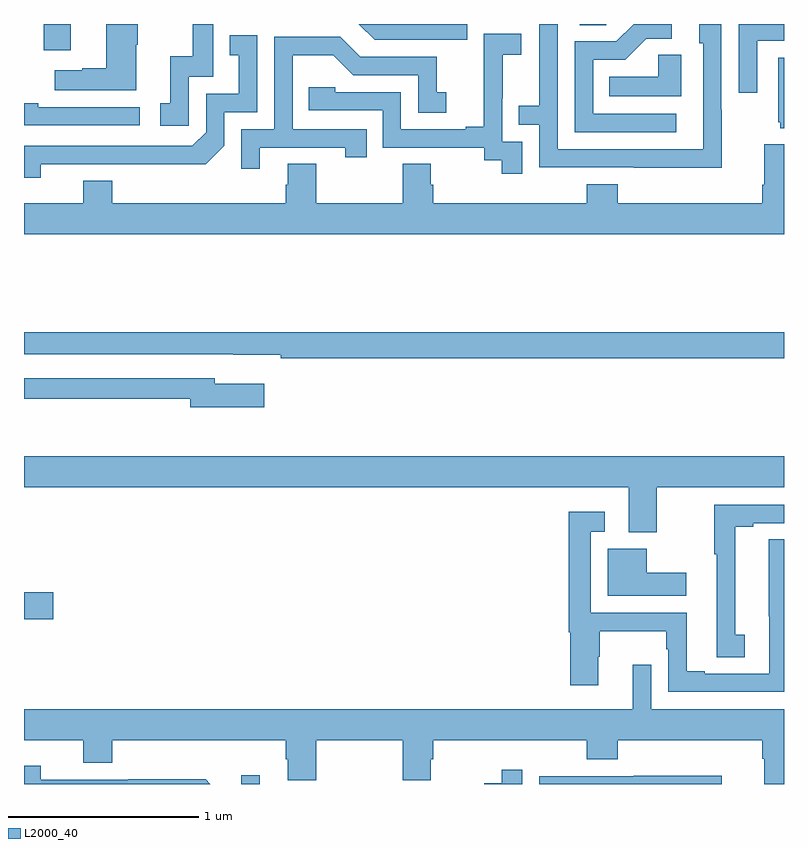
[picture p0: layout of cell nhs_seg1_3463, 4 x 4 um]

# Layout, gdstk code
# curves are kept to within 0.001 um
import gdstk
lib = gdstk.Library(unit=1e-6, precision=1e-09)
def R(c, l, rs):  # rectangles x0, y0, x1, y1
    for r in rs: c.add(gdstk.rectangle(r[:2], r[2:], *l))
def P(c, l, *ps):  # polygons
    for p in ps: c.add(gdstk.Polygon(p, *l))
L2000_40 = (2000, 40)

nhs_seg1_3463 = lib.new_cell('nhs_seg1_3463')
R(nhs_seg1_3463, L2000_40, [(300.144,522.199,300.241,522.246), (299,523.066,299.155,523.208), (299.105,526.062,299.245,526.199), (301.925,526.192,302.064,526.199)])
P(nhs_seg1_3463, L2000_40, [(299.59,526.091),(299.598,526.091),(299.598,526.199),(299.432,526.199),(299.432,525.965),(299.306,525.965),(299.306,525.955),(299.163,525.955),(299.163,525.851),(299.59,525.851)],
  [(302.434,525.726),(301.995,525.726),(301.995,526.011),(302.164,526.011),(302.275,526.122),(302.41,526.122),(302.41,526.199),(302.21,526.199),(302.118,526.107),(301.899,526.107),(301.899,525.63),(302.434,525.63)],
  [(302.859,526.11),(303,526.11),(303,526.199),(302.763,526.199),(302.763,525.837),(302.859,525.837)],
  [(299.868,525.921),(299.997,525.921),(299.997,526.199),(299.889,526.199),(299.889,526.03),(299.771,526.03),(299.771,525.783),(299.718,525.783),(299.718,525.663),(299.868,525.663)],
  [(301.332,526.199),(300.763,526.199),(300.846,526.116),(301.332,526.116)],
  [(302.673,525.749),(302.67,525.749),(302.67,526.199),(302.555,526.199),(302.555,526.098),(302.574,526.098),(302.574,525.54),(301.809,525.54),(301.809,526.199),(301.713,526.199),(301.713,525.77),(301.603,525.77),(301.603,525.669),(301.713,525.669),(301.713,525.444),(302.209,525.444),(302.209,525.443),(302.673,525.443)],
  [(301.623,525.579),(301.518,525.579),(301.518,525.809),(301.52,525.809),(301.52,526.037),(301.618,526.037),(301.618,526.147),(301.42,526.147),(301.42,525.941),(301.421,525.941),(301.421,525.658),(301.325,525.658),(301.325,525.645),(300.984,525.645),(300.984,525.84),(300.639,525.84),(300.639,525.867),(300.499,525.867),(300.499,525.744),(300.888,525.744),(300.888,525.549),(301.422,525.549),(301.422,525.481),(301.515,525.481),(301.515,525.411),(301.623,525.411)],
  [(299.088,525.462),(299.956,525.461),(300.054,525.558),(300.054,525.735),(300.228,525.735),(300.228,526.141),(300.082,526.141),(300.082,526.035),(300.131,526.035),(300.131,525.831),(299.958,525.831),(299.958,525.63),(299.886,525.558),(299,525.558),(299,525.389),(299.088,525.389)],
  [(300.241,525.549),(300.692,525.549),(300.692,525.498),(300.803,525.498),(300.803,525.645),(300.414,525.645),(300.414,526.034),(300.628,526.034),(300.732,525.93),(301.074,525.93),(301.074,525.732),(301.222,525.732),(301.222,525.841),(301.173,525.841),(301.173,526.026),(300.769,526.026),(300.664,526.131),(300.318,526.131),(300.318,525.645),(300.144,525.645),(300.144,525.438),(300.241,525.438)],
  [(302.458,526.037),(302.337,526.037),(302.337,525.922),(302.08,525.922),(302.08,525.818),(302.458,525.818)],
  [(303,526.021),(302.969,526.021),(302.969,525.681),(302.981,525.681),(302.981,525.65),(303,525.65)],
  [(299.608,525.762),(299.075,525.762),(299.075,525.782),(299,525.782),(299,525.666),(299.608,525.666)],
  [(303,525.565),(302.897,525.565),(302.897,525.352),(302.885,525.352),(302.885,525.256),(302.126,525.256),(302.126,525.355),(301.961,525.355),(301.961,525.256),(301.154,525.256),(301.154,525.354),(301.141,525.354),(301.141,525.464),(300.994,525.464),(300.994,525.256),(300.537,525.256),(300.537,525.464),(300.389,525.464),(300.389,525.354),(300.377,525.354),(300.377,525.256),(299.465,525.256),(299.465,525.373),(299.312,525.373),(299.312,525.256),(299,525.256),(299,525.092),(303,525.092)],
  [(303,524.576),(299,524.576),(299,524.46),(300.1,524.46),(300.1,524.459),(300.352,524.459),(300.352,524.44),(303,524.44)],
  [(300.265,524.305),(300.004,524.305),(300.004,524.334),(299,524.334),(299,524.226),(299.876,524.226),(299.876,524.183),(300.265,524.183)],
  [(302.331,523.76),(303,523.76),(303,523.924),(299,523.924),(299,523.76),(302.183,523.76),(302.183,523.523),(302.331,523.523)],
  [(302.794,522.984),(302.744,522.984),(302.744,523.552),(302.839,523.552),(302.839,523.572),(303,523.572),(303,523.668),(302.634,523.668),(302.634,523.408),(302.645,523.408),(302.645,522.865),(302.794,522.865)],
  [(303,523.487),(302.921,523.487),(302.921,523.081),(302.922,523.081),(302.922,522.78),(302.584,522.78),(302.584,522.793),(302.488,522.793),(302.488,523.101),(301.983,523.101),(301.983,523.527),(302.056,523.527),(302.056,523.633),(301.867,523.633),(301.867,522.998),(301.874,522.998),(301.874,522.72),(302.023,522.72),(302.023,522.87),(302.031,522.87),(302.031,523.004),(302.379,523.004),(302.379,522.908),(302.391,522.908),(302.391,522.684),(303,522.684)],
  [(302.485,523.312),(302.278,523.312),(302.278,523.438),(302.072,523.438),(302.072,523.19),(302.485,523.19)],
  [(303,522.592),(302.301,522.592),(302.301,522.826),(302.204,522.826),(302.204,522.592),(299,522.592),(299,522.428),(299.312,522.428),(299.312,522.311),(299.465,522.311),(299.465,522.428),(300.377,522.428),(300.377,522.33),(300.389,522.33),(300.389,522.22),(300.537,522.22),(300.537,522.428),(300.994,522.428),(300.994,522.22),(301.141,522.22),(301.141,522.33),(301.154,522.33),(301.154,522.428),(301.961,522.428),(301.961,522.329),(302.126,522.329),(302.126,522.428),(302.885,522.428),(302.885,522.332),(302.897,522.332),(302.897,522.199),(303,522.199)],
  [(299.956,522.224),(299.548,522.224),(299.548,522.222),(299.088,522.222),(299.088,522.295),(299,522.295),(299,522.199),(299.981,522.199)],
  [(301.623,522.274),(301.515,522.274),(301.515,522.204),(301.422,522.204),(301.422,522.199),(301.623,522.199)],
  [(302.673,522.242),(302.209,522.242),(302.209,522.24),(301.713,522.24),(301.713,522.199),(302.673,522.199)])

lib.write_gds('nhs_seg1_3463.gds')
